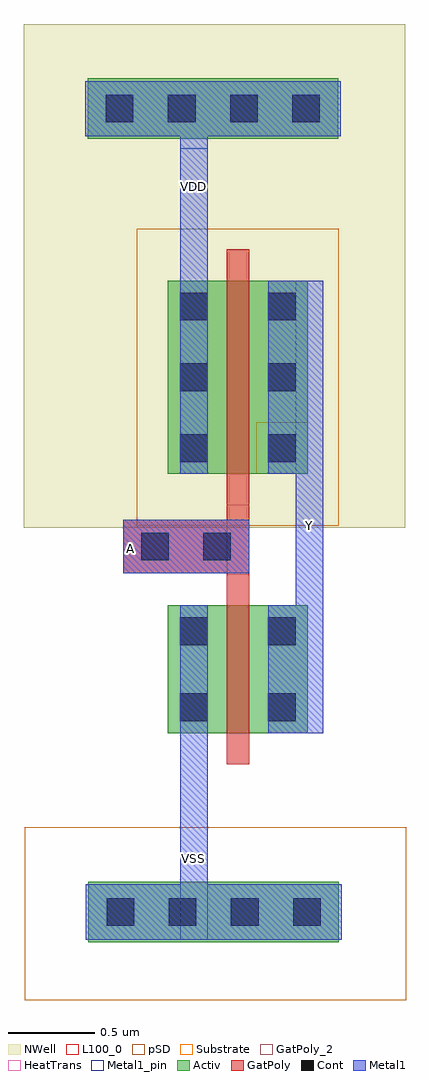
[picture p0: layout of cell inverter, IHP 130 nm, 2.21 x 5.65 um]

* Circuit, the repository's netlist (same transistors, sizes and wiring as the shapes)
** sch_path: /home/designer/shared/BASIC/current_generator/analog/DAC/schematics/inverter.sch
.subckt inverter A Y VDD VSS
*.PININFO Y:O A:I VDD:B VSS:B
MMN0 Y A VSS VSS sg13_lv_nmos w=740.00n l=130.00n ng=1
MMP0 Y A VDD VDD sg13_lv_pmos w=1.12u l=130.00n ng=1
.ends

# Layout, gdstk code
import gdstk
lib = gdstk.Library(unit=1e-6, precision=1e-09)
def R(c, l, rs):  # rectangles x0, y0, x1, y1
    for r in rs: c.add(gdstk.rectangle(r[:2], r[2:], *l))
def A(c, l, x, y, w, h, nx, ny, dx, dy):  # array of equal rectangles
    R(c, l, [(x+i*dx, y+j*dy, x+i*dx+w, y+j*dy+h) for i in range(nx) for j in range(ny)])
Activ = (1, 0)
GatPoly = (5, 0)
GatPoly_2 = (5, 2)
Cont = (6, 0)
Metal1 = (8, 0)
Metal1_pin = (8, 2)
pSD = (14, 0)
NWell = (31, 0)
Substrate = (40, 0)
HeatTrans = (51, 0)
L100_0 = (100, 0)

pmos = lib.new_cell('pmos')
R(pmos, Activ, [(0,0,0.3,0.3), (0,0,0.81,1.12), (0.51,0,0.81,0.3)])
R(pmos, GatPoly, [(0.34,-0.18,0.47,1.3), (0.34,-0.18,0.47,1.3)])
A(pmos, Cont, 0.07, 0.07, 0.16, 0.16, 1, 3, 0, 0.41)
A(pmos, Cont, 0.58, 0.07, 0.16, 0.16, 1, 3, 0, 0.41)
R(pmos, Metal1, [(0.07,0,0.23,1.12), (0.07,0,0.23,1.12), (0.58,0,0.74,1.12), (0.58,0,0.74,1.12)])
R(pmos, pSD, [(-0.18,-0.3,0.99,1.42)])
R(pmos, NWell, [(-0.31,-0.31,1.12,1.43)])
R(pmos, Substrate, [(0.51,0,0.81,0.3)])
R(pmos, HeatTrans, [(0.34,-0.18,0.47,1.3)])
pmos.add(gdstk.Label('pmos', (0.405,0.56), layer=63, texttype=0))
pmos.add(gdstk.Label('pmos', (0.405,0.56), layer=51, texttype=0))

nmos = lib.new_cell('nmos')
R(nmos, Activ, [(0,0,0.3,0.3), (0,0,0.81,0.74), (0.51,0,0.81,0.3)])
R(nmos, GatPoly, [(0.34,-0.18,0.47,0.92)])
R(nmos, GatPoly_2, [(0.34,-0.18,0.47,0.92)])
R(nmos, Cont, [(0.07,0.07,0.23,0.23), (0.58,0.07,0.74,0.23), (0.07,0.51,0.23,0.67), (0.58,0.51,0.74,0.67)])
R(nmos, Metal1, [(0.07,0,0.23,0.74), (0.58,0,0.74,0.74)])
R(nmos, Metal1_pin, [(0.07,0,0.23,0.74), (0.58,0,0.74,0.74)])
R(nmos, HeatTrans, [(0.34,-0.18,0.47,0.92)])
nmos.add(gdstk.Label('nmos', (0.405,0.37), layer=63, texttype=0))
nmos.add(gdstk.Label('nmos', (0.405,0.37), layer=51, texttype=0))

inverter = lib.new_cell('inverter')
R(inverter, Activ, [(0.54,-1.71,1.99,-1.36), (0.535,2.94,1.985,3.29)])
R(inverter, GatPoly, [(0.74,0.425,1.47,0.735)])
R(inverter, GatPoly_2, [(1.34,-0.68,1.47,2.3)])
A(inverter, Cont, 0.645, -1.615, 0.16, 0.16, 4, 1, 0.36, 0)
A(inverter, Cont, 0.64, 3.035, 0.16, 0.16, 4, 1, 0.36, 0)
R(inverter, Cont, [(0.845,0.5,1.005,0.66), (1.205,0.5,1.365,0.66)])
R(inverter, Metal1, [(0.525,-1.695,2.005,-1.375), (1.74,-0.5,1.9,2.12), (0.74,0.425,1.47,0.735), (1.07,2.88,1.23,3.275), (0.52,2.955,2,3.275)])
R(inverter, Metal1_pin, [(1.07,-1.695,1.23,0.24), (1.74,-0.5,1.9,2.12), (1.74,-0.5,1.9,2.12), (0.74,0.425,1.47,0.735), (1.07,1,1.23,2.885)])
R(inverter, pSD, [(0.17,-2.045,2.38,-1.045)])
R(inverter, NWell, [(0.165,0.69,2.375,3.605)])
R(inverter, L100_0, [(1.069,-0.431,1.231,-0.269), (1.069,-0.431,1.231,-0.269), (1.579,-0.431,1.741,-0.269), (1.579,-0.431,1.741,-0.269), (1.069,0.009,1.231,0.171), (1.069,0.009,1.231,0.171), (1.579,0.009,1.741,0.171), (1.579,0.009,1.741,0.171), (1.069,1.069,1.231,1.231), (1.069,1.069,1.231,1.231), (1.579,1.069,1.741,1.231), (1.579,1.069,1.741,1.231), (1.069,1.479,1.231,1.641), (1.069,1.479,1.231,1.641), (1.579,1.479,1.741,1.641), (1.579,1.479,1.741,1.641), (1.069,1.889,1.231,2.051), (1.069,1.889,1.231,2.051), (1.579,1.889,1.741,2.051), (1.579,1.889,1.741,2.051)])
inverter.add(gdstk.FlexPath([(1.405,0.42),(1.405,0.825)], 0.13, ends="flush", simple_path=True, layer=5, datatype=0))  # GatPoly
inverter.add(gdstk.FlexPath([(1.15,0.24),(1.15,-1.695)], 0.16, ends="flush", simple_path=True, layer=8, datatype=0))  # Metal1
inverter.add(gdstk.FlexPath([(1.15,2.885),(1.15,2.12)], 0.16, ends="flush", simple_path=True, layer=8, datatype=0))  # Metal1
inverter.add(gdstk.Reference(pmos, (1,1)))
inverter.add(gdstk.Reference(nmos, (1,-0.5)))
inverter.add(gdstk.Label('A', (0.785,0.57), layer=8, texttype=25))
inverter.add(gdstk.Label('Y', (1.82,0.7), layer=8, texttype=25))
inverter.add(gdstk.Label('VDD', (1.15,2.665), layer=8, texttype=25))
inverter.add(gdstk.Label('VSS', (1.15,-1.225), layer=8, texttype=25))

lib.write_gds('inverter.gds')
